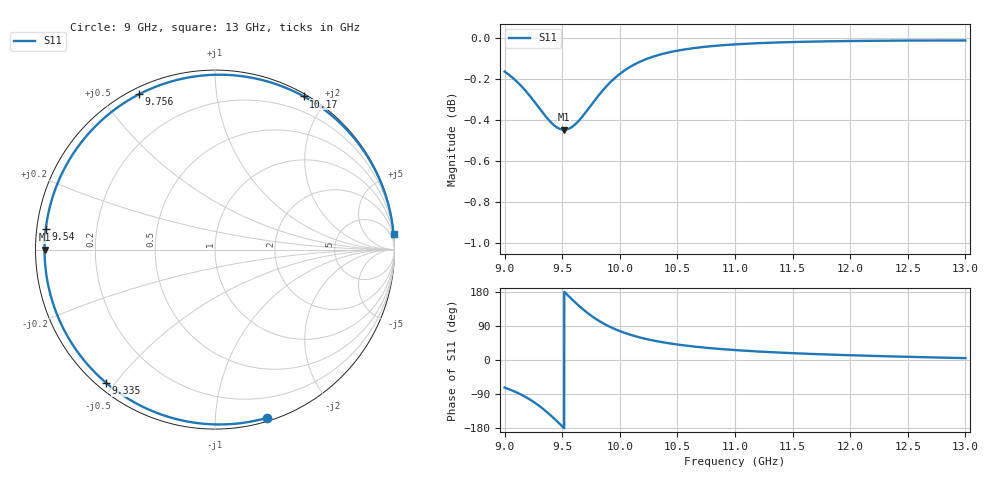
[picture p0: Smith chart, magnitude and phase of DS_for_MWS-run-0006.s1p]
! TOUCHSTONE file generated by CST DESIGN STUDIO
! Date and time: Tue Feb  4 13:59:16 2025
! Project name: C:\Work\MatlabApps\UnitCellOptimizationMatlab\CST\unitcell.cst
! Tree item: Tasks\Sweep1\SPara1\S-Parameters
! Header version: 2024
! Port assignment regex: !\s*Touchstone port\s*([0-9]+)\s*=\s*(CST MWS port|CST DES external port|CST DES block port)\s*(.+)\s* \(\"(.*)\"\)(\s*mode\s*([0-9]+))?.*
! Touchstone port assignment:
! Touchstone port 1 = CST DES external port 1 ("")
# GHz S MA R 50
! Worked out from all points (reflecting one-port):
!   4001 points, 9 GHz to 13 GHz, reference 50 ohm
!   lowest |S11| = -0.4 dB at 9.517 GHz (marker M1), VSWR 38.84, Z = 1.29 - j0.00709 ohm
!   phase of S11 starts at -73 deg and turns -282 deg over the sweep
!   S11 on the Smith chart (normalised r, x): 9 GHz: 0.03, -1.36; 9.335 GHz: 0.03, -0.47; 9.54 GHz: 0.03, +0.06; 9.756 GHz: 0.03, +0.62; 10.17 GHz: 0.03, +1.73; 13 GHz: 0, +23
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9  0.9812 -72.7
9.091  0.9766 -83.7
9.195  0.9698 -99.9
9.268  0.9641 -114.0
9.335  0.9586 -129.2
9.38  0.9552 -140.7
9.426  0.9523 -153.3
9.464  0.9507 -164.3
9.5  0.9499 -174.9
9.517  0.9498 -180.0
9.54  0.95 173.2
9.593  0.9516 157.6
9.653  0.9552 140.9
9.704  0.9591 127.9
9.756  0.9634 116.0
9.807  0.9675 105.6
9.862  0.9717 95.7
10  0.9799 76.3
10.081  0.9835 67.6
10.169  0.9865 59.9
10.32  0.9901 49.7
10.5  0.9928 40.9
10.722  0.9948 33.1
11  0.9963 26.2
11.5  0.9976 18.0
12  0.9981 12.5
12.5  0.9984 8.4
13  0.9984 4.9
